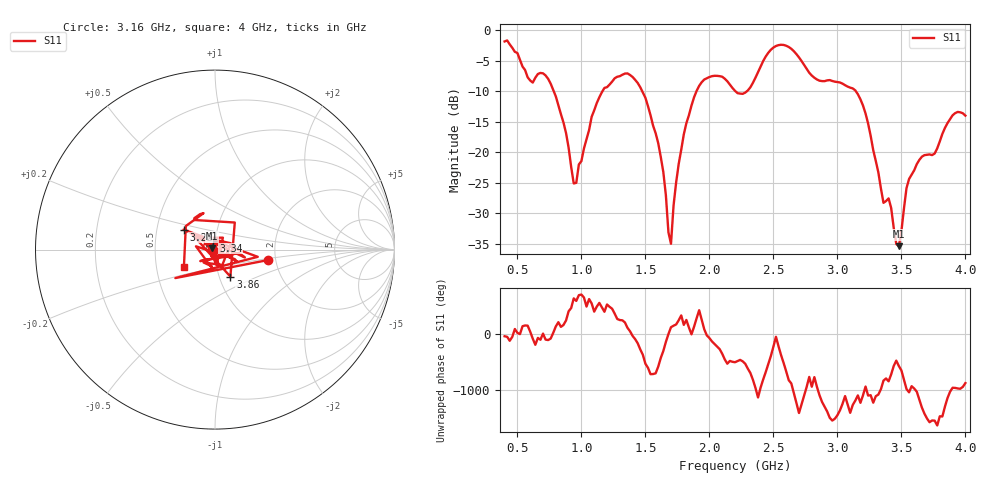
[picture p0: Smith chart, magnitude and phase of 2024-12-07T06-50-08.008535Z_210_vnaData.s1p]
!Created with skrf (http://scikit-rf.org).
# Hz S RI R 50.0
!freq ReS11 ImS11
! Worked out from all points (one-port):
!   181 points, 400 MHz to 4 GHz, reference 50 ohm
!   lowest |S11| = -35.4 dB at 3.48 GHz (marker M1), VSWR 1.03, Z = 48.5 + j0.681 ohm
!   |S11| at or under -10 dB: 784.2 MHz to 1.164 GHz (379.8 MHz wide, 39 % of centre); 1.476 GHz to 1.899 GHz (422.9 MHz wide, 25.1 % of centre); 3.145 GHz to end of sweep (the widest 3 of 4)
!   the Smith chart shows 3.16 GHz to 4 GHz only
!   S11 on the Smith chart (normalised r, x): 3.16 GHz: 1.81, -0.23; 3.22 GHz: 0.69, +0.16; 3.34 GHz: 0.98, +0.10; 3.86 GHz: 1.13, -0.35; 4 GHz: 0.69, -0.14
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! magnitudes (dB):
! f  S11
! 400 MHz  -1.8
! 600 MHz  -8.2
! 740 MHz  -7.9
! 860 MHz  -15.1
! 960 MHz  -25.0
! 1.12 GHz  -11.9
! 1.3 GHz  -7.5
! 1.4 GHz  -7.6
! 1.52 GHz  -12.4
! 1.64 GHz  -23.3
! 1.7 GHz  -35.0
! 1.76 GHz  -21.9
! 1.82 GHz  -15.2
! 1.94 GHz  -8.5
! 2.2 GHz  -9.9
! 2.3 GHz  -9.9
! 2.5 GHz  -2.8
! 2.66 GHz  -3.4
! 2.84 GHz  -8.1
! 3.1 GHz  -9.4
! 3.16 GHz  -10.5
! 3.22 GHz  -13.6
! 3.34 GHz  -25.9
! 3.4 GHz  -27.6
! 3.48 GHz  -35.4
! 3.56 GHz  -24.4
! 3.86 GHz  -15.2
! 4 GHz  -14.0
